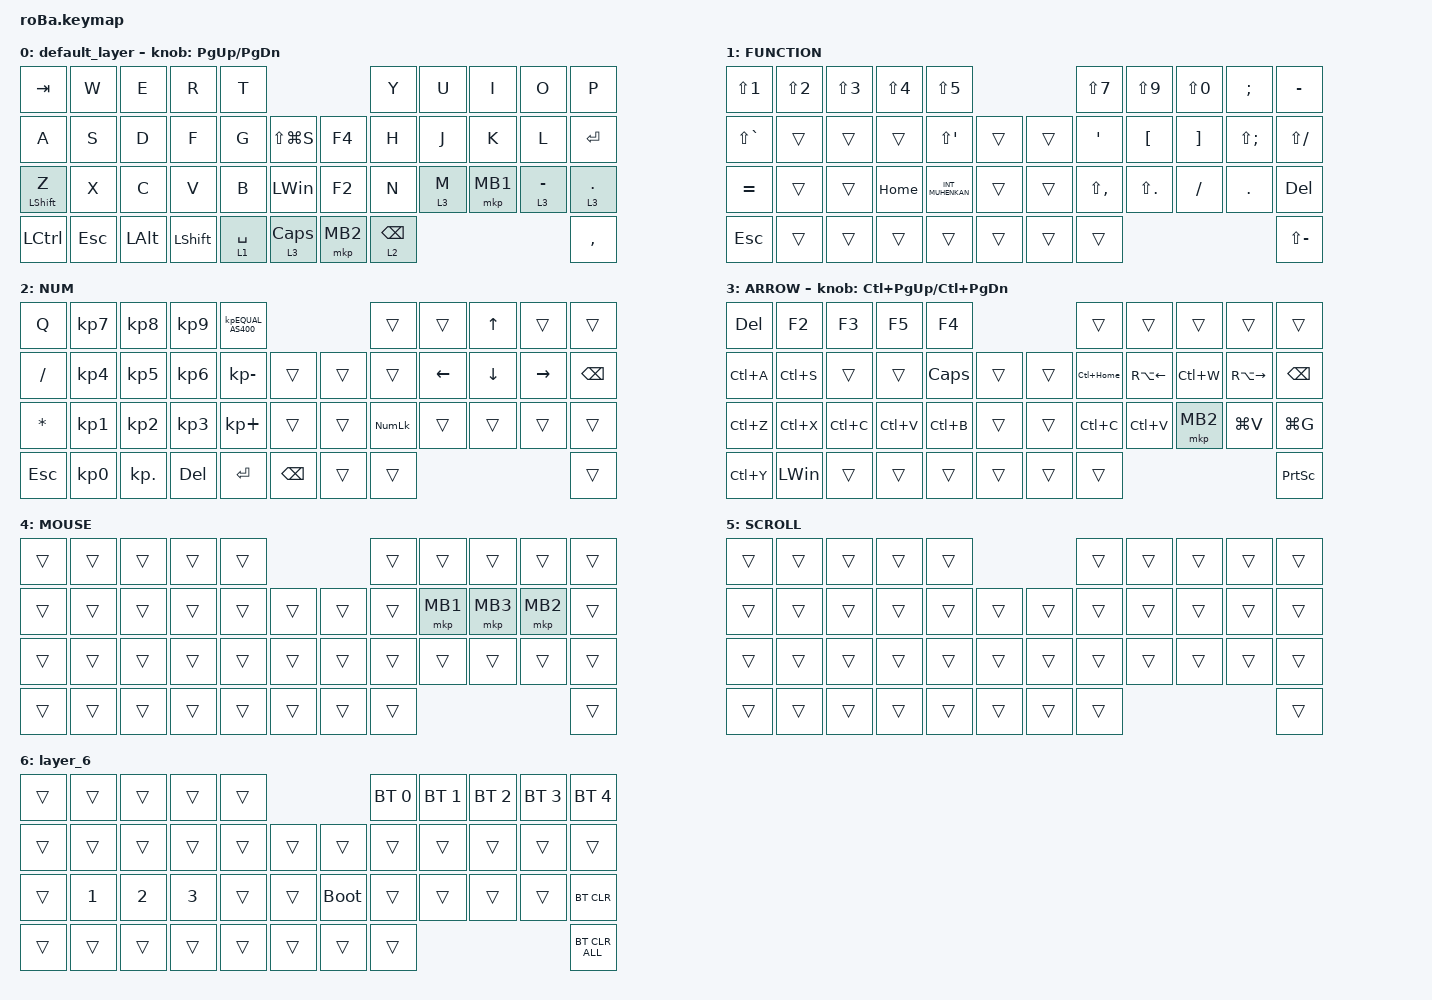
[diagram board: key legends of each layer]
#include <behaviors.dtsi>
#include <dt-bindings/zmk/bt.h>
#include <dt-bindings/zmk/keys.h>
#include <dt-bindings/zmk/pointing.h>

#define MOUSE 4
#define SCROLL 5
#define NUM 6

&mt {
    flavor = "balanced";
    quick-tap-ms = <0>;
};

/ {
    combos {
        compatible = "zmk,combos";

        tab {
            bindings = <&kp TAB>;
            key-positions = <11 12>;
        };

        shift_tab {
            bindings = <&kp LS(TAB)>;
            key-positions = <12 13>;
        };

        muhennkann {
            bindings = <&to_layer_0 INT_MUHENKAN>;
            key-positions = <11 10>;
        };

        double_quotation {
            bindings = <&kp DOUBLE_QUOTES>;
            key-positions = <20 21>;
        };

        eq {
            bindings = <&kp EQUAL>;
            key-positions = <24 25>;
        };
    };

    macros {
        to_layer_0: to_layer_0 {
            compatible = "zmk,behavior-macro-one-param";
            #binding-cells = <1>;
            bindings = <&to 0 &macro_param_1to1 &kp MACRO_PLACEHOLDER>;
            label = "TO_LAYER_0";
        };
    };

    behaviors {
        lt_to_layer_0: lt_to_layer_0 {
            compatible = "zmk,behavior-hold-tap";
            label = "LAYER_TAP_TO_0";
            bindings = <&mo>, <&to_layer_0>;

            #binding-cells = <2>;
            tapping-term-ms = <200>;
        };
    };

    keymap {
        compatible = "zmk,keymap";

        default_layer {
            bindings = <
&kp TAB           &kp W    &kp E         &kp R           &kp T                                      &kp Y            &kp U    &kp I     &kp O        &kp P
&kp A             &kp S    &kp D         &kp F           &kp G        &kp LS(LG(S))       &kp F4    &kp H            &kp J    &kp K     &kp L        &kp ENTER
&mt LEFT_SHIFT Z  &kp X    &kp C         &kp V           &kp B        &kp LEFT_WIN        &kp F2    &kp N            &lt 3 M  &mkp MB1  &lt 3 MINUS  &lt 3 PERIOD
&kp LCTRL         &kp ESC  &kp LEFT_ALT  &kp LEFT_SHIFT  &lt 1 SPACE  &lt 3 CAPSLOCK      &mkp MB2  &lt 2 BACKSPACE                                  &kp COMMA
            >;

            sensor-bindings = <&inc_dec_kp PG_UP PAGE_DOWN>;
        };

        FUNCTION {
            bindings = <
&kp LS(NUMBER_1)  &kp LS(NUMBER_2)  &kp LS(NUMBER_3)  &kp LS(NUMBER_4)  &kp LS(N5)                                &kp LS(N7)        &kp LS(N9)        &kp LS(N0)         &kp SEMICOLON      &kp MINUS
&kp LS(GRAVE)     &trans            &trans            &trans            &kp LS(SINGLE_QUOTE)  &trans      &trans  &kp SINGLE_QUOTE  &kp LEFT_BRACKET  &kp RIGHT_BRACKET  &kp LS(SEMICOLON)  &kp LS(SLASH)
&kp EQUAL         &trans            &trans            &kp HOME          &kp INT_MUHENKAN      &trans      &trans  &kp LS(COMMA)     &kp LS(PERIOD)    &kp SLASH          &kp PERIOD         &kp DEL
&kp ESC           &trans            &trans            &trans            &trans                &trans      &trans  &trans                                                                    &kp LS(MINUS)
            >;
        };

        NUM {
            bindings = <
&kp Q         &kp KP_NUMBER_7  &kp KP_NUMBER_8  &kp KP_NUMBER_9  &kp KP_EQUAL_AS400                             &trans          &trans          &kp UP_ARROW    &trans     &trans
&kp SLASH     &kp KP_NUMBER_4  &kp KP_NUMBER_5  &kp KP_NUMBER_6  &kp KP_MINUS        &trans             &trans  &trans          &kp LEFT_ARROW  &kp DOWN_ARROW  &kp RIGHT  &kp BACKSPACE
&kp ASTERISK  &kp KP_NUMBER_1  &kp KP_NUMBER_2  &kp KP_NUMBER_3  &kp KP_PLUS         &trans             &trans  &kp KP_NUMLOCK  &trans          &trans          &trans     &trans
&kp ESCAPE    &kp KP_NUMBER_0  &kp KP_DOT       &kp DEL          &kp ENTER           &kp BACKSPACE      &trans  &trans                                                     &trans
            >;
        };

        ARROW {
            bindings = <
&kp DEL    &kp F2     &kp F3     &kp F5     &kp F4                            &trans        &trans        &trans     &trans         &trans
&kp LC(A)  &kp LC(S)  &trans     &trans     &kp CAPSLOCK  &trans      &trans  &kp LC(HOME)  &kp RA(LEFT)  &kp LC(W)  &kp RA(RIGHT)  &kp BACKSPACE
&kp LC(Z)  &kp LC(X)  &kp LC(C)  &kp LC(V)  &kp LC(B)     &trans      &trans  &kp LC(C)     &kp LC(V)     &mkp MB2   &kp LG(V)      &kp LG(G)
&kp LC(Y)  &kp LWIN   &trans     &trans     &trans        &trans      &trans  &trans                                                &kp PRINTSCREEN
            >;

            sensor-bindings = <&inc_dec_kp LC(PAGE_UP) LC(PAGE_DOWN)>;
        };

        MOUSE {
            bindings = <
&trans  &trans  &trans  &trans  &trans                      &trans  &trans    &trans    &trans    &trans
&trans  &trans  &trans  &trans  &trans  &trans      &trans  &trans  &mkp MB1  &mkp MB3  &mkp MB2  &trans
&trans  &trans  &trans  &trans  &trans  &trans      &trans  &trans  &trans    &trans    &trans    &trans
&trans  &trans  &trans  &trans  &trans  &trans      &trans  &trans                                &trans
            >;
        };

        SCROLL {
            bindings = <
&trans  &trans  &trans  &trans  &trans                      &trans  &trans  &trans  &trans  &trans
&trans  &trans  &trans  &trans  &trans  &trans      &trans  &trans  &trans  &trans  &trans  &trans
&trans  &trans  &trans  &trans  &trans  &trans      &trans  &trans  &trans  &trans  &trans  &trans
&trans  &trans  &trans  &trans  &trans  &trans      &trans  &trans                          &trans
            >;
        };

        layer_6 {
            bindings = <
&trans  &trans        &trans        &trans        &trans                           &bt BT_SEL 0  &bt BT_SEL 1  &bt BT_SEL 2  &bt BT_SEL 3  &bt BT_SEL 4
&trans  &trans        &trans        &trans        &trans  &trans      &trans       &trans        &trans        &trans        &trans        &trans
&trans  &kp NUMBER_1  &kp NUMBER_2  &kp NUMBER_3  &trans  &trans      &bootloader  &trans        &trans        &trans        &trans        &bt BT_CLR
&trans  &trans        &trans        &trans        &trans  &trans      &trans       &trans                                                  &bt BT_CLR_ALL
            >;
        };
    };
};
